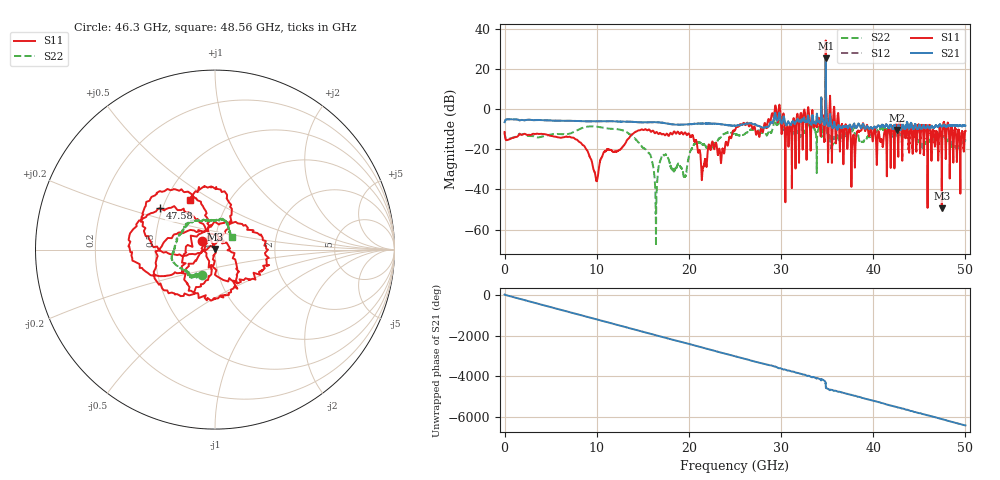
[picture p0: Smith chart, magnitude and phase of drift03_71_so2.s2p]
!Created with skrf (http://scikit-rf.org).
# Hz S RI R 50.0
!freq ReS11 ImS11 ReS21 ImS21 ReS12 ImS12 ReS22 ImS22
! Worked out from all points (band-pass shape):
!   10001 points, 300 kHz to 50 GHz, reference 50 ohm
!   highest |S21| = 25.26 dB at 34.85 GHz (marker M1); lowest = -10.4 dB at 42.56 GHz (marker M2)
!   |S21| within 3 dB of the highest: 34.84343 GHz to 34.84606 GHz (2.634 MHz wide, 0.00756 % of centre)
!   lowest |S11| = -49.4 dB at 47.44 GHz (marker M3), VSWR 1.01, Z = 50.1 + j0.325 ohm
!   |S11| at or under -10 dB: start of sweep to 15.23 GHz; 15.31 GHz to 25.05 GHz (9.74 GHz wide, 48.3 % of centre); 40.22 GHz to 41.61 GHz (1.387 GHz wide, 3.39 % of centre) (the widest 3 of 47)
!   |S22| runs from -68.3 to 16.1 dB; largest |S21 - S12| = 2.6
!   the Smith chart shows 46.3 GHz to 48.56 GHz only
!   S11 on the Smith chart (normalised r, x): 46.3 GHz: 0.86, +0.08; 47.58 GHz: 0.48, +0.26; 48.56 GHz: 0.66, +0.40
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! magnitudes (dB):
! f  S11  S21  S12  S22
! 300 kHz  -11.4  -6.5  -6.4  -11.4
! 8.335 GHz  -17.1  -6.0  -6.0  -9.6
! 9.955 GHz  -35.7  -6.1  -6.1  -8.7
! 13.8 GHz  -12.6  -6.3  -6.3  -13.3
! 16.67 GHz  -12.4  -6.6  -6.5  -30.0
! 17.34 GHz  -12.8  -7.0  -6.9  -23.0
! 19.55 GHz  -11.6  -7.7  -7.7  -33.5
! 20.21 GHz  -13.8  -7.4  -7.5  -20.4
! 21.55 GHz  -28.6  -7.2  -7.2  -17.7
! 25 GHz  -10.6  -8.2  -8.2  -12.6
! 29.28 GHz  -1.7  -2.9  -2.0  -5.5
! 33.34 GHz  -3.8  -6.7  -6.7  -9.3
! 34.85 GHz  34.2  25.3  25.0  16.1
! 37.83 GHz  -12.8  -8.2  -8.2  -9.7
! 38.82 GHz  -8.4  -8.1  -8.1  -16.3
! 41.67 GHz  -9.0  -9.4  -9.4  -11.7
! 42.56 GHz  -8.1  -10.4  -10.5  -13.5
! 46.3 GHz  -21.4  -8.5  -8.5  -16.1
! 47.44 GHz  -49.4  -8.5  -8.6  -13.5
! 47.58 GHz  -8.3  -8.2  -8.2  -13.4
! 48.56 GHz  -10.2  -8.2  -8.3  -18.6
! 50 GHz  -10.8  -8.2  -8.2  -15.5
